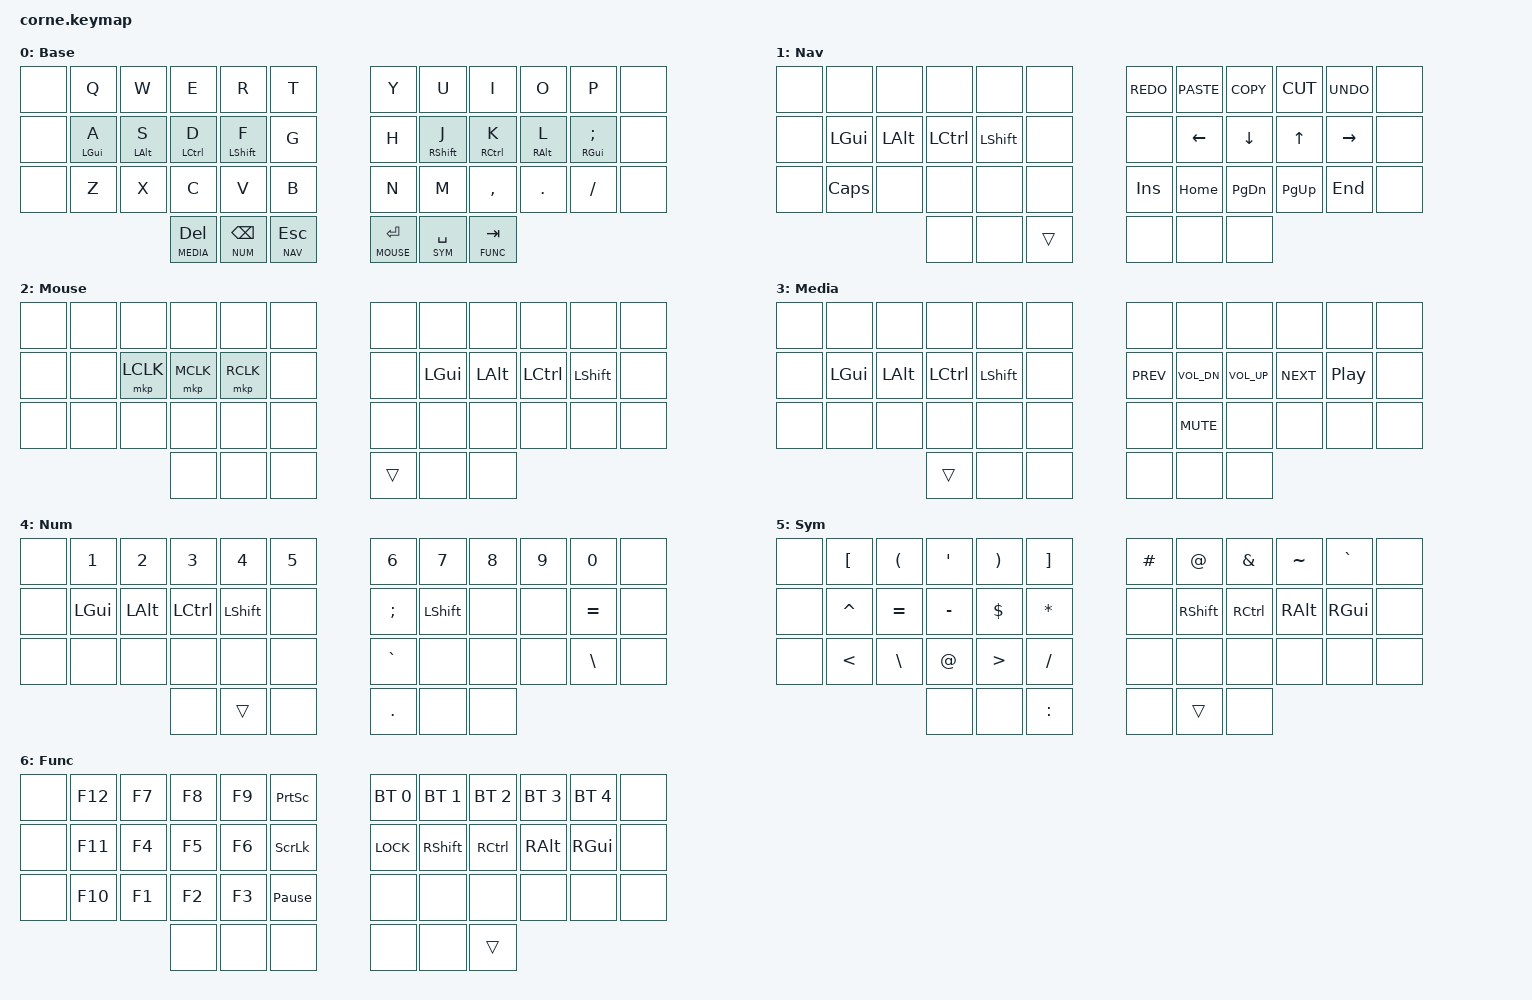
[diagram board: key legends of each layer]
#include <behaviors.dtsi>
#include <dt-bindings/zmk/bt.h>
#include <dt-bindings/zmk/keys.h>
#include <dt-bindings/zmk/mouse.h>

#define BASE  0
#define NAV   1
#define MOUSE 2
#define MEDIA 3
#define NUM   4
#define SYM   5
#define FUNC  6

/ {
    behaviors {
        hm: homerow_mods {
            compatible = "zmk,behavior-hold-tap";
            #binding-cells = <2>;
            tapping-term-ms = <180>;
            quick-tap-ms = <120>;
            require-prior-idle-ms = <150>;    // replaces global-quick-tap
            flavor = "tap-preferred";
            bindings = <&kp>, <&kp>;
            hold-trigger-key-positions = <0>;
            hold-trigger-on-release;
        };

        lt: layer_tap {
            compatible = "zmk,behavior-hold-tap";
            #binding-cells = <2>;
            tapping-term-ms = <180>;
            quick-tap-ms = <120>;
            require-prior-idle-ms = <150>;    // replaces global-quick-tap
            flavor = "balanced";
            bindings = <&mo>, <&kp>;
            hold-trigger-key-positions = <0>;
            hold-trigger-on-release;
        };
    };

    keymap {
        compatible = "zmk,keymap";

        base {
            // -----------------------------------------------------------------------------------------
            // |      |  Q  |  W  |  E  |  R  |  T  |   |  Y  |  U   |  I  |  O  |  P  |      |
            // |      | A/G | S/A | D/C | F/S |  G  |   |  H  | J/S  | K/C | L/A | ;/G |      |
            // |      |  Z  |  X  |  C  |  V  |  B  |   |  N  |  M   |  ,  |  .  |  /  |      |
            //                    | M/D | N/B | N/E |   | M/R | S/SP | F/T |

            bindings = <
&none  &kp Q       &kp W       &kp E        &kp R         &kp T            &kp Y          &kp U          &kp I         &kp O       &kp P          &none
&none  &hm LGUI A  &hm LALT S  &hm LCTRL D  &hm LSHFT F   &kp G            &kp H          &hm RSHFT J    &hm RCTRL K   &hm RALT L  &hm RGUI SEMI  &none
&none  &kp Z       &kp X       &kp C        &kp V         &kp B            &kp N          &kp M          &kp COMMA     &kp DOT     &kp SLASH      &none
                               &lt MEDIA DEL &lt NUM BSPC  &lt NAV ESC     &lt MOUSE RET  &lt SYM SPACE  &lt FUNC TAB
            >;

            label = "Base";
        };

        nav {
            // -----------------------------------------------------------------------------------------
            // |      |     |     |     |     |     |   | REDO| PASTE| COPY| CUT | UNDO|      |
            // |      | GUI | ALT | CTL | SHF |     |   |     | LEFT | DOWN| UP  |RIGHT|      |
            // |      | CAPS|     |     |     |     |   | INS | HOME | PGDN| PGUP| END |      |
            //                    |     |     | NAV |   |     |      |     |

            bindings = <
&none  &none     &none     &none      &none      &none    &kp K_REDO  &kp K_PASTE  &kp K_COPY  &kp K_CUT  &kp K_UNDO  &none
&none  &kp LGUI  &kp LALT  &kp LCTRL  &kp LSHFT  &none    &none       &kp LEFT     &kp DOWN    &kp UP     &kp RIGHT   &none
&none  &kp CAPS  &none     &none      &none      &none    &kp INSERT  &kp HOME     &kp PG_DN   &kp PG_UP  &kp END     &none
                           &none      &none      &trans    &none       &none        &none
            >;

            label = "Nav";
        };

        mouse {
            // -----------------------------------------------------------------------------------------
            // |      |     |     |     |     |     |   |     |      |     |     |     |      |
            // |      |     | LMB | MMB | RMB |     |   |     | GUI  | ALT | CTL | SHF |      |
            // |      |     |     |     |     |     |   |     |      |     |     |     |      |
            //                    |     |     |     |   | MOU |      |     |

            bindings = <
&none  &none  &none      &none      &none      &none    &none   &none     &none     &none      &none      &none
&none  &none  &mkp LCLK  &mkp MCLK  &mkp RCLK  &none    &none   &kp LGUI  &kp LALT  &kp LCTRL  &kp LSHFT  &none
&none  &none  &none      &none      &none      &none    &none   &none     &none     &none      &none      &none
                         &none      &none      &none    &trans  &none     &none
            >;

            label = "Mouse";
        };

        media {
            // -----------------------------------------------------------------------------------------
            // |      |     |     |     |     |     |   |     |      |     |     |     |      |
            // |      | GUI | ALT | CTL | SHF |     |   | PREV| VOLDN| VOLUP| NEXT| PLAY|      |
            // |      |     |     |     |     |     |   |     | MUTE |     |     |     |      |
            //                    | MED |     |     |   |     |      |     |

            bindings = <
&none  &none     &none     &none      &none      &none     &none       &none         &none         &none       &none     &none
&none  &kp LGUI  &kp LALT  &kp LCTRL  &kp LSHFT  &none     &kp C_PREV  &kp C_VOL_DN  &kp C_VOL_UP  &kp C_NEXT  &kp C_PP  &none
&none  &none     &none     &none      &none      &none     &none       &kp C_MUTE    &none         &none       &none     &none
                           &trans     &none      &none     &none       &none         &none
            >;

            label = "Media";
        };

        num {
            // -----------------------------------------------------------------------------------------
            // |      |  1  |  2  |  3  |  4  |  5  |   |  6  |  7   |  8  |  9  |  0  |      |
            // |      | GUI | ALT | CTL | SHF |     |   | ; | SHIFT |     |     |  =  |      |
            // |      |     |     |     |     |     |   |  `  |      |     |     |  \  |      |
            //                    |     | NUM |     |   |  .  |      |     |

            bindings = <
&none  &kp N1    &kp N2    &kp N3     &kp N4     &kp N5    &kp N6     &kp N7     &kp N8  &kp N9  &kp N0    &none
&none  &kp LGUI  &kp LALT  &kp LCTRL  &kp LSHFT  &none     &kp SEMI   &kp LSHFT  &none   &none   &kp EQUAL &none
&none  &none     &none     &none      &none      &none     &kp GRAVE  &none      &none   &none   &kp BSLH  &none
                           &none      &trans     &none     &kp DOT    &none      &none
            >;

            label = "Num";
        };

        sym {
            // -----------------------------------------------------------------------------------------
            // |      |  [  |  (  |  '  |  )  |  ]  |   |  #  |  @   |  &  |  ~  |  `  |      |
            // |      |  ^  |  =  |  -  |  $  |  *  |   |     | SHIFT| CTRL| ALT | GUI |      |
            // |      |  <  |  \  |  @  |  >  |  /  |   |     |      |     |     |     |      |
            //                    |     |     |  :  |   |     | SYM  |     |

            bindings = <
&none  &kp LBKT  &kp LPAR  &kp SQT   &kp RPAR  &kp RBKT     &kp HASH  &kp AT    &kp AMPS  &kp TILDE  &kp GRAVE  &none
&none  &kp CARET &kp EQUAL &kp MINUS &kp DLLR  &kp ASTRK    &none     &kp RSHFT &kp RCTRL &kp RALT   &kp RGUI   &none
&none  &kp LT    &kp BSLH  &kp AT    &kp GT    &kp FSLH     &none     &none     &none     &none      &none      &none
                           &none     &none     &kp COLON    &none     &trans    &none
            >;

            label = "Sym";
        };

        func {
            // -----------------------------------------------------------------------------------------
            // |      | F12 | F7  | F8  | F9  | PSCR|   | BT0 | BT1  | BT2 | BT3 | BT4 |      |
            // |      | F11 | F4  | F5  | F6  | SLCK|   | LOCK| SHIFT| CTRL| ALT | GUI |      |
            // |      | F10 | F1  | F2  | F3 | PAUSE|   |     |      |     |     |     |      |
            //                    |     |     |     |   |     |      | FUNC|

            bindings = <
&none  &kp F12  &kp F7  &kp F8  &kp F9  &kp PSCRN       &bt BT_SEL 0  &bt BT_SEL 1  &bt BT_SEL 2  &bt BT_SEL 3  &bt BT_SEL 4  &none
&none  &kp F11  &kp F4  &kp F5  &kp F6  &kp SLCK        &kp K_LOCK    &kp RSHFT     &kp RCTRL     &kp RALT      &kp RGUI      &none
&none  &kp F10  &kp F1  &kp F2  &kp F3  &kp PAUSE_BREAK &none         &none         &none         &none         &none         &none
                        &none   &none   &none           &none         &none         &trans
            >;

            label = "Func";
        };
    };
};
